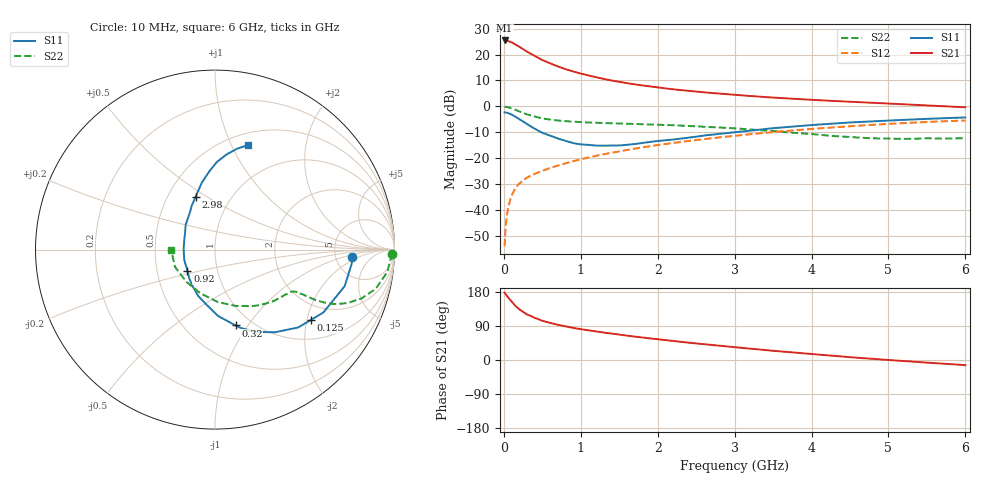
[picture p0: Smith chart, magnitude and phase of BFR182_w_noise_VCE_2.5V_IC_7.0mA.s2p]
! Infineon Technologies  Discrete & RF Semiconductors
! BFR182
! VCE =  2.5 V,  IC =  7.0 mA
! Common Emitter S-Parameters:  Nov 2015
# GHz  S  MA  R  50
!  f  S11  S21  S12  S22
! GHz  MAG  ANG  MAG  ANG  MAG  ANG  MAG  ANG
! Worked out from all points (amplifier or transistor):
!   210 points, 10 MHz to 6 GHz, reference 50 ohm
!   highest |S21| = 25.4 dB at 10 MHz (marker M1)
!   |S21| within 3 dB of that: start of sweep to 232 MHz
!   unconditionally stable (mu >= 1): 895 MHz to 2.733 GHz
!   at 185 MHz: K = 0.42, MSG = 26.8 dB, |S12| = -30.3 dB
!   at 1.52 GHz: K = 1.06, MAG = 11.8 dB, |S12| = -17.3 dB
!   at 6 GHz: K = 0.89, MSG = 2.6 dB, |S12| = -5.5 dB
!   lowest NFmin = 1.30 dB at 450 MHz
!   S11 on the Smith chart (normalised r, x): 10 MHz: 7.24, -1.50; 125 MHz: 1.51, -2.11; 320 MHz: 0.84, -0.88; 920 MHz: 0.72, -0.18; 2.98 GHz: 0.69, +0.45; 6 GHz: 0.62, +1.16
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0.01  0.7664 -3.2  18.73 177.3  0.002 88.2  0.9864 -1.4
0.05  0.7507 -15.7  18.4 166.5  0.0098 84.0  0.9686 -7.3
0.1  0.6983 -30.1  17.32 154.2  0.0187 75.3  0.9222 -13.7
0.125  0.6623 -36.3  16.43 148.7  0.0226 72.4  0.8908 -16.0
0.15  0.6349 -43.1  15.71 142.7  0.0265 70.4  0.8608 -18.4
0.2  0.5688 -54.1  14.26 133.9  0.0322 67.2  0.7993 -21.8
0.26  0.4991 -65.4  12.46 125.3  0.038 64.1  0.736 -24.3
0.3  0.4568 -72.3  11.4 120.4  0.0421 63.9  0.7011 -25.4
0.32  0.4376 -74.8  10.98 118.8  0.0436 63.6  0.6875 -25.6
0.4  0.3712 -87.2  9.401 111.2  0.0497 62.8  0.6334 -26.6
0.5  0.3086 -99.3  7.838 103.5  0.057 63.3  0.5855 -26.9
0.6  0.2739 -110.2  6.749 98.0  0.0645 63.6  0.5546 -27.0
0.7  0.2406 -120.8  5.916 93.0  0.0716 64.1  0.5337 -27.2
0.92  0.1932 -142.5  4.628 84.1  0.0888 64.6  0.5045 -27.7
1.02  0.1835 -153.4  4.222 80.7  0.0966 65.1  0.4945 -28.1
1.4  0.1753 173.9  3.154 69.6  0.1266 65.0  0.4718 -31.4
2.02  0.2158 138.7  2.297 54.4  0.1808 62.4  0.442 -39.0
2.98  0.3139 110.2  1.676 34.0  0.2686 55.0  0.3784 -56.3
3.1  0.3281 107.8  1.626 31.9  0.2799 53.7  0.3672 -59.1
4.1  0.4461 93.1  1.314 14.1  0.376 43.2  0.2826 -90.8
5.1  0.5417 82.0  1.115 -1.4  0.468 30.9  0.237 -136.5
6  0.6111 72.4  0.96 -13.6  0.5333 18.2  0.2451 179.9
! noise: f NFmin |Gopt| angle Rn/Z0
0.45  1.3  0.26  40  0.29
0.9  1.45  0.25  81  0.23
1.8  2  0.21  157  0.2
